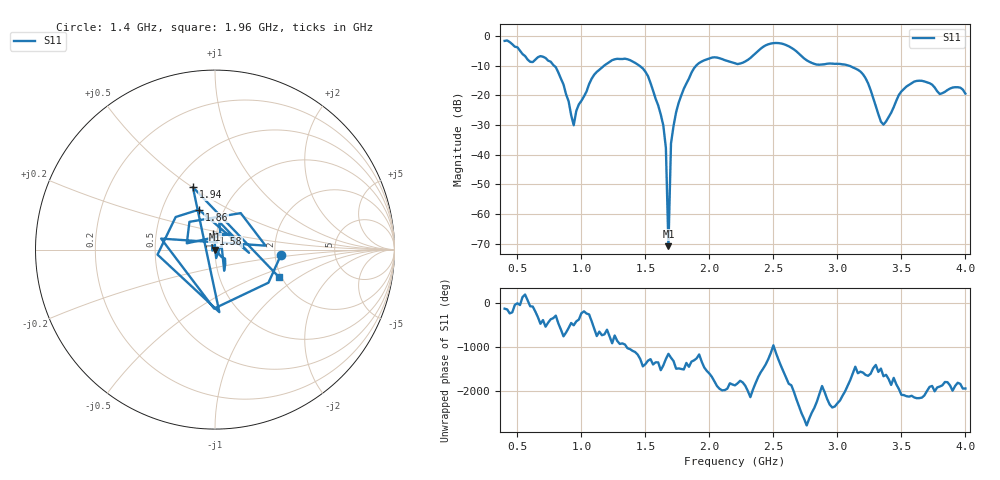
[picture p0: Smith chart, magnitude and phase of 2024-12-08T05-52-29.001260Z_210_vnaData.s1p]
!Created with skrf (http://scikit-rf.org).
# Hz S RI R 50.0
!freq ReS11 ImS11
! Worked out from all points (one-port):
!   181 points, 400 MHz to 4 GHz, reference 50 ohm
!   lowest |S11| = -70.8 dB at 1.68 GHz (marker M1), VSWR 1.00, Z = 50 - j0.0276 ohm
!   |S11| at or under -10 dB: 785 MHz to 1.179 GHz (393.7 MHz wide, 40.1 % of centre); 1.451 GHz to 1.897 GHz (446.3 MHz wide, 26.7 % of centre); 3.085 GHz to end of sweep
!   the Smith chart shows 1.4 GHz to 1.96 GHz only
!   S11 on the Smith chart (normalised r, x): 1.4 GHz: 2.16, -0.15; 1.58 GHz: 0.97, +0.17; 1.86 GHz: 0.76, +0.36; 1.94 GHz: 0.62, +0.50; 1.96 GHz: 1.94, -0.70
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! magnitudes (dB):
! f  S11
! 400 MHz  -1.7
! 600 MHz  -8.8
! 760 MHz  -8.7
! 860 MHz  -16.4
! 940 MHz  -30.1
! 980 MHz  -23.1
! 1.1 GHz  -13.1
! 1.3 GHz  -7.8
! 1.4 GHz  -8.7
! 1.5 GHz  -12.1
! 1.58 GHz  -21.2
! 1.64 GHz  -30.2
! 1.66 GHz  -37.7
! 1.68 GHz  -70.8
! 1.7 GHz  -36.2
! 1.76 GHz  -22.5
! 1.86 GHz  -12.4
! 1.94 GHz  -8.7
! 1.96 GHz  -8.2
! 2.2 GHz  -9.2
! 2.48 GHz  -2.6
! 2.66 GHz  -4.6
! 2.82 GHz  -9.5
! 3.1 GHz  -10.2
! 3.22 GHz  -14.3
! 3.36 GHz  -29.9
! 3.56 GHz  -16.5
! 4 GHz  -19.5
